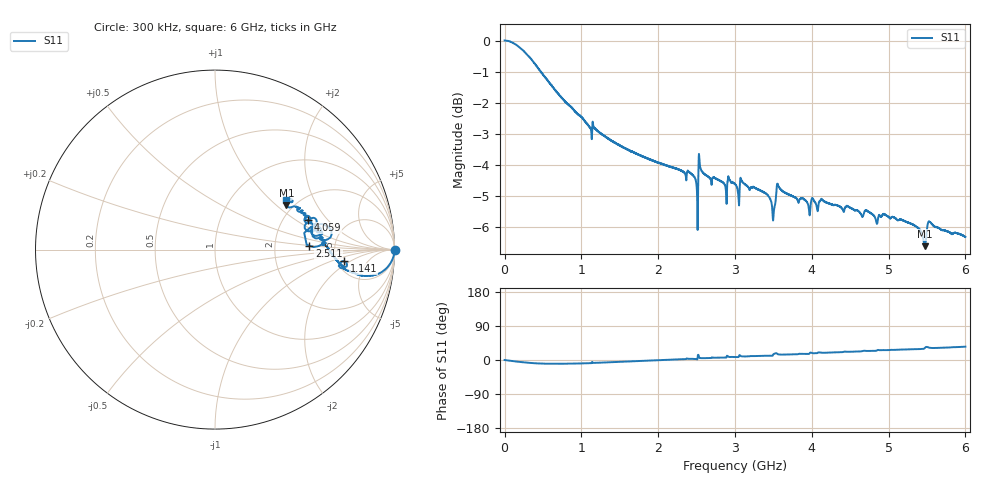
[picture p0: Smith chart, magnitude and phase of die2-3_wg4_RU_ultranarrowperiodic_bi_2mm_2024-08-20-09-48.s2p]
!Keysight Technologies,P9374A,MY57304198,A.17.20.09
!Date: Tuesday, August 20, 2024 09:48:06
!Correction: S11(C  1-Port  )
!S21(C  1-Port  )
!S12(Off)
!S22(Off)
!S2P File: Measurements: S11, S21, S12, S22:
# Hz S  dB  R 50
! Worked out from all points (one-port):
!   6000 points, 300 kHz to 6 GHz, reference 50 ohm
!   lowest |S11| = -6.6 dB at 5.472 GHz (marker M1), VSWR 2.76, Z = 92.3 + j58.1 ohm
!   |S11| at or under -10 dB: nowhere
!   S11 on the Smith chart (normalised r, x): 300 kHz: open; 1.141 GHz: 5.79, -1.54; 2.511 GHz: 3.21, +0.16; 4.059 GHz: 2.72, +1.27; 6 GHz: 1.73, +1.26
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300000  0.00 -0.0  -200.00 45.0  -200.00 45.0  -200.00 45.0
4.193489e8  -0.82 -8.8  -200.00 45.0  -200.00 45.0  -200.00 45.0
1.000417e9  -2.47 -9.0  -200.00 45.0  -200.00 45.0  -200.00 45.0
1.141433e9  -2.82 -5.0  -200.00 45.0  -200.00 45.0  -200.00 45.0
2.000533e9  -3.93 -0.3  -200.00 45.0  -200.00 45.0  -200.00 45.0
2.481589e9  -4.43 2.9  -200.00 45.0  -200.00 45.0  -200.00 45.0
2.510593e9  -5.58 2.0  -200.00 45.0  -200.00 45.0  -200.00 45.0
2.555598e9  -4.14 5.0  -200.00 45.0  -200.00 45.0  -200.00 45.0
3.00065e9  -4.62 8.0  -200.00 45.0  -200.00 45.0  -200.00 45.0
3.08166e9  -4.48 9.8  -200.00 45.0  -200.00 45.0  -200.00 45.0
3.399697e9  -4.92 11.2  -200.00 45.0  -200.00 45.0  -200.00 45.0
3.503709e9  -5.54 15.9  -200.00 45.0  -200.00 45.0  -200.00 45.0
3.531712e9  -5.06 17.9  -200.00 45.0  -200.00 45.0  -200.00 45.0
3.574717e9  -4.73 14.5  -200.00 45.0  -200.00 45.0  -200.00 45.0
3.94076e9  -5.21 16.1  -200.00 45.0  -200.00 45.0  -200.00 45.0
4.000767e9  -5.08 18.8  -200.00 45.0  -200.00 45.0  -200.00 45.0
4.058774e9  -5.28 17.6  -200.00 45.0  -200.00 45.0  -200.00 45.0
5.000883e9  -5.67 26.1  -200.00 45.0  -200.00 45.0  -200.00 45.0
5.380928e9  -6.02 28.8  -200.00 45.0  -200.00 45.0  -200.00 45.0
5.471938e9  -6.61 31.7  -200.00 45.0  -200.00 45.0  -200.00 45.0
5.553948e9  -5.87 31.8  -200.00 45.0  -200.00 45.0  -200.00 45.0
6e9  -6.31 35.2  -200.00 45.0  -200.00 45.0  -200.00 45.0
